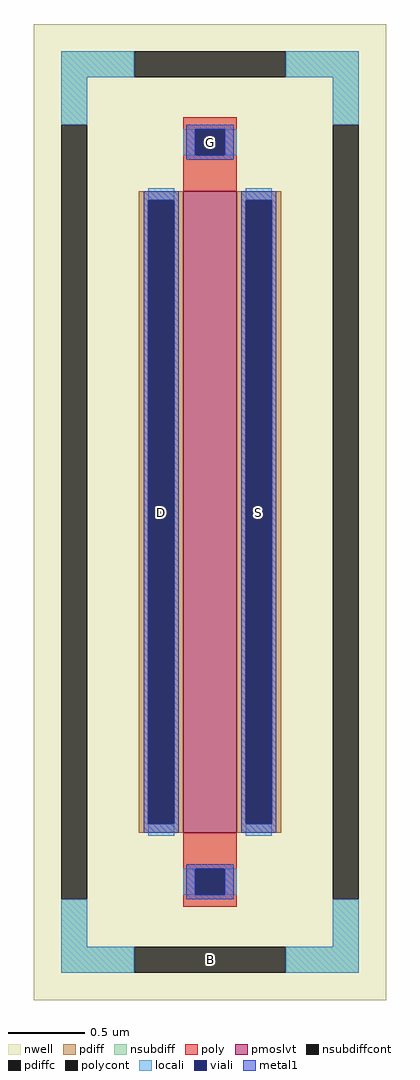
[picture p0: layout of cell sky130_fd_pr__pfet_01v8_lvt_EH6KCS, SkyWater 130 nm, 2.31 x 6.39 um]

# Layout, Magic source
magic
tech sky130A
magscale 1 2
<< nwell >>
rect -231 -639 231 639
<< pmoslvt >>
rect -35 -420 35 420
<< pdiff >>
rect -93 408 -35 420
rect -93 -408 -81 408
rect -47 -408 -35 408
rect -93 -420 -35 -408
rect 35 408 93 420
rect 35 -408 47 408
rect 81 -408 93 408
rect 35 -420 93 -408
<< pdiffc >>
rect -81 -408 -47 408
rect 47 -408 81 408
<< nsubdiff >>
rect -195 569 -99 603
rect 99 569 195 603
rect -195 507 -161 569
rect 161 507 195 569
rect -195 -569 -161 -507
rect 161 -569 195 -507
rect -195 -603 -99 -569
rect 99 -603 195 -569
<< nsubdiffcont >>
rect -99 569 99 603
rect -195 -507 -161 507
rect 161 -507 195 507
rect -99 -603 99 -569
<< poly >>
rect -35 501 35 517
rect -35 467 -19 501
rect 19 467 35 501
rect -35 420 35 467
rect -35 -467 35 -420
rect -35 -501 -19 -467
rect 19 -501 35 -467
rect -35 -517 35 -501
<< polycont >>
rect -19 467 19 501
rect -19 -501 19 -467
<< locali >>
rect -195 569 -99 603
rect 99 569 195 603
rect -195 507 -161 569
rect 161 507 195 569
rect -35 467 -19 501
rect 19 467 35 501
rect -81 408 -47 424
rect -81 -424 -47 -408
rect 47 408 81 424
rect 47 -424 81 -408
rect -35 -501 -19 -467
rect 19 -501 35 -467
rect -195 -569 -161 -507
rect 161 -569 195 -507
rect -195 -603 -99 -569
rect 99 -603 195 -569
<< viali >>
rect -19 467 19 501
rect -81 -408 -47 408
rect 47 -408 81 408
rect -19 -501 19 -467
<< metal1 >>
rect -31 501 31 507
rect -31 467 -19 501
rect 19 467 31 501
rect -31 461 31 467
rect -87 408 -41 420
rect -87 -408 -81 408
rect -47 -408 -41 408
rect -87 -420 -41 -408
rect 41 408 87 420
rect 41 -408 47 408
rect 81 -408 87 408
rect 41 -420 87 -408
rect -31 -467 31 -461
rect -31 -501 -19 -467
rect 19 -501 31 -467
rect -31 -507 31 -501
<< labels >>
rlabel nsubdiffcont 0 -586 0 -586 0 B
port 1 nsew
rlabel pdiffc -64 0 -64 0 0 D
port 2 nsew
rlabel pdiffc 64 0 64 0 0 S
port 3 nsew
rlabel polycont 0 484 0 484 0 G
port 4 nsew
<< properties >>
string FIXED_BBOX -178 -586 178 586
string gencell sky130_fd_pr__pfet_01v8_lvt
string library sky130
string parameters w 4.2 l 0.35 m 1 nf 1 diffcov 100 polycov 100 guard 1 glc 1 grc 1 gtc 1 gbc 1 tbcov 100 rlcov 100 topc 1 botc 1 poverlap 0 doverlap 1 lmin 0.35 wmin 0.42 class mosfet compatible {sky130_fd_pr__pfet_01v8  sky130_fd_pr__pfet_01v8_lvt sky130_fd_pr__pfet_01v8_hvt  sky130_fd_pr__pfet_g5v0d10v5} full_metal 1 conn_gates 0 viasrc 100 viadrn 100 viagate 100 viagb 0 viagr 0 viagl 0 viagt 0 doports 1
<< end >>
